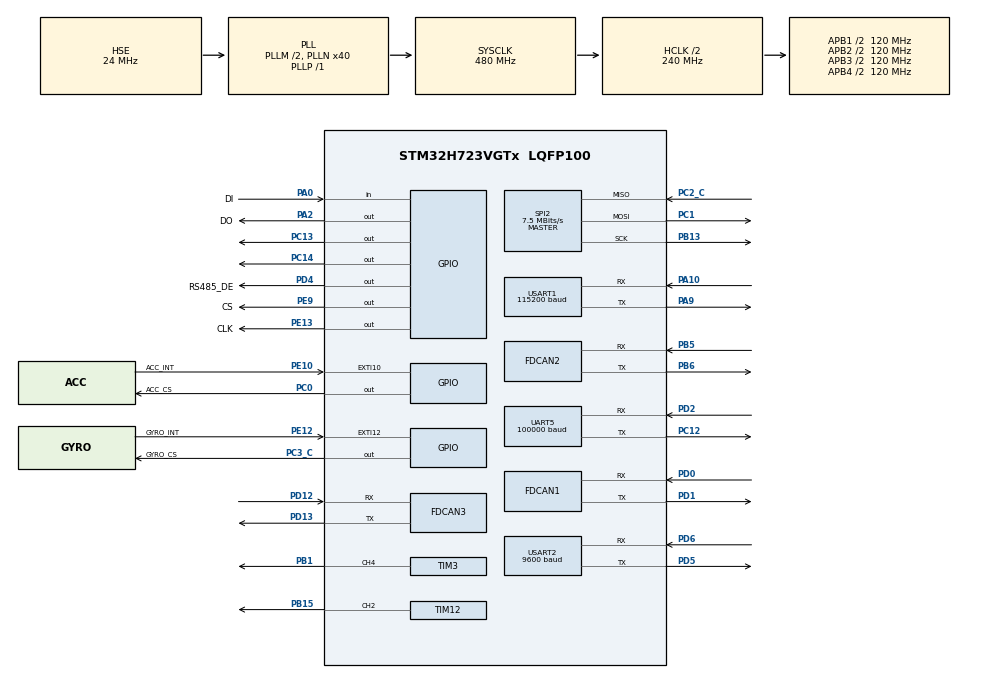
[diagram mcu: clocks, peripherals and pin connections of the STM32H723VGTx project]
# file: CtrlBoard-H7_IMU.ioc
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Dma.Request0=SPI2_RX
Dma.Request1=SPI2_TX
Dma.Request2=USART1_RX
Dma.Request3=USART1_TX
Dma.Request4=UART5_RX
Dma.SPI2_RX.0.Direction=DMA_PERIPH_TO_MEMORY
Dma.SPI2_RX.0.EventEnable=DISABLE
Dma.SPI2_RX.0.FIFOMode=DMA_FIFOMODE_DISABLE
Dma.SPI2_RX.0.Instance=DMA1_Stream0
Dma.SPI2_RX.0.MemDataAlignment=DMA_MDATAALIGN_BYTE
Dma.SPI2_RX.0.MemInc=DMA_MINC_ENABLE
Dma.SPI2_RX.0.Mode=DMA_NORMAL
Dma.SPI2_RX.0.PeriphDataAlignment=DMA_PDATAALIGN_BYTE
Dma.SPI2_RX.0.PeriphInc=DMA_PINC_DISABLE
Dma.SPI2_RX.0.Polarity=HAL_DMAMUX_REQ_GEN_RISING
Dma.SPI2_RX.0.Priority=DMA_PRIORITY_VERY_HIGH
Dma.SPI2_RX.0.RequestNumber=1
Dma.SPI2_RX.0.SignalID=NONE
Dma.SPI2_RX.0.SyncEnable=DISABLE
Dma.SPI2_RX.0.SyncPolarity=HAL_DMAMUX_SYNC_NO_EVENT
Dma.SPI2_RX.0.SyncRequestNumber=1
Dma.SPI2_RX.0.SyncSignalID=NONE
Dma.SPI2_TX.1.Direction=DMA_MEMORY_TO_PERIPH
Dma.SPI2_TX.1.EventEnable=DISABLE
Dma.SPI2_TX.1.FIFOMode=DMA_FIFOMODE_DISABLE
Dma.SPI2_TX.1.Instance=DMA1_Stream4
Dma.SPI2_TX.1.MemDataAlignment=DMA_MDATAALIGN_BYTE
Dma.SPI2_TX.1.MemInc=DMA_MINC_ENABLE
Dma.SPI2_TX.1.Mode=DMA_NORMAL
Dma.SPI2_TX.1.PeriphDataAlignment=DMA_PDATAALIGN_BYTE
Dma.SPI2_TX.1.PeriphInc=DMA_PINC_DISABLE
Dma.SPI2_TX.1.Polarity=HAL_DMAMUX_REQ_GEN_RISING
Dma.SPI2_TX.1.Priority=DMA_PRIORITY_HIGH
Dma.SPI2_TX.1.RequestNumber=1
Dma.SPI2_TX.1.SignalID=NONE
Dma.SPI2_TX.1.SyncEnable=DISABLE
Dma.SPI2_TX.1.SyncPolarity=HAL_DMAMUX_SYNC_NO_EVENT
Dma.SPI2_TX.1.SyncRequestNumber=1
Dma.SPI2_TX.1.SyncSignalID=NONE
Dma.UART5_RX.4.Direction=DMA_PERIPH_TO_MEMORY
Dma.UART5_RX.4.EventEnable=DISABLE
Dma.UART5_RX.4.FIFOMode=DMA_FIFOMODE_DISABLE
Dma.UART5_RX.4.Instance=DMA1_Stream1
Dma.UART5_RX.4.MemDataAlignment=DMA_MDATAALIGN_BYTE
Dma.UART5_RX.4.MemInc=DMA_MINC_ENABLE
Dma.UART5_RX.4.Mode=DMA_NORMAL
Dma.UART5_RX.4.PeriphDataAlignment=DMA_PDATAALIGN_BYTE
Dma.UART5_RX.4.PeriphInc=DMA_PINC_DISABLE
Dma.UART5_RX.4.Polarity=HAL_DMAMUX_REQ_GEN_RISING
Dma.UART5_RX.4.Priority=DMA_PRIORITY_LOW
Dma.UART5_RX.4.RequestNumber=1
Dma.UART5_RX.4.SignalID=NONE
Dma.UART5_RX.4.SyncEnable=DISABLE
Dma.UART5_RX.4.SyncPolarity=HAL_DMAMUX_SYNC_NO_EVENT
Dma.UART5_RX.4.SyncRequestNumber=1
Dma.UART5_RX.4.SyncSignalID=NONE
Dma.USART1_RX.2.Direction=DMA_PERIPH_TO_MEMORY
Dma.USART1_RX.2.EventEnable=DISABLE
Dma.USART1_RX.2.FIFOMode=DMA_FIFOMODE_DISABLE
Dma.USART1_RX.2.Instance=DMA1_Stream2
Dma.USART1_RX.2.MemDataAlignment=DMA_MDATAALIGN_BYTE
Dma.USART1_RX.2.MemInc=DMA_MINC_ENABLE
Dma.USART1_RX.2.Mode=DMA_NORMAL
Dma.USART1_RX.2.PeriphDataAlignment=DMA_PDATAALIGN_BYTE
Dma.USART1_RX.2.PeriphInc=DMA_PINC_DISABLE
Dma.USART1_RX.2.Polarity=HAL_DMAMUX_REQ_GEN_RISING
Dma.USART1_RX.2.Priority=DMA_PRIORITY_LOW
Dma.USART1_RX.2.RequestNumber=1
Dma.USART1_RX.2.SignalID=NONE
Dma.USART1_RX.2.SyncEnable=DISABLE
Dma.USART1_RX.2.SyncPolarity=HAL_DMAMUX_SYNC_NO_EVENT
Dma.USART1_RX.2.SyncRequestNumber=1
Dma.USART1_RX.2.SyncSignalID=NONE
Dma.USART1_TX.3.Direction=DMA_MEMORY_TO_PERIPH
Dma.USART1_TX.3.EventEnable=DISABLE
Dma.USART1_TX.3.FIFOMode=DMA_FIFOMODE_DISABLE
Dma.USART1_TX.3.Instance=DMA1_Stream3
Dma.USART1_TX.3.MemDataAlignment=DMA_MDATAALIGN_BYTE
Dma.USART1_TX.3.MemInc=DMA_MINC_ENABLE
Dma.USART1_TX.3.Mode=DMA_NORMAL
Dma.USART1_TX.3.PeriphDataAlignment=DMA_PDATAALIGN_BYTE
Dma.USART1_TX.3.PeriphInc=DMA_PINC_DISABLE
Dma.USART1_TX.3.Polarity=HAL_DMAMUX_REQ_GEN_RISING
Dma.USART1_TX.3.Priority=DMA_PRIORITY_LOW
Dma.USART1_TX.3.RequestNumber=1
Dma.USART1_TX.3.SignalID=NONE
Dma.USART1_TX.3.SyncEnable=DISABLE
Dma.USART1_TX.3.SyncPolarity=HAL_DMAMUX_SYNC_NO_EVENT
Dma.USART1_TX.3.SyncRequestNumber=1
Dma.USART1_TX.3.SyncSignalID=NONE
FDCAN1.CalculateBaudRateNominal=1000000
FDCAN1.CalculateTimeBitNominal=1000
FDCAN1.CalculateTimeQuantumNominal=40.0
FDCAN1.DataPrescaler=4
FDCAN1.DataTimeSeg1=19
FDCAN1.DataTimeSeg2=5
FDCAN1.ExtFiltersNbr=5
FDCAN1.NominalPrescaler=4
FDCAN1.NominalTimeSeg1=19
FDCAN1.NominalTimeSeg2=5
FDCAN1.RxFifo0ElmtSize=FDCAN_DATA_BYTES_24
FDCAN1.RxFifo0ElmtsNbr=4
FDCAN1.RxFifo1ElmtSize=FDCAN_DATA_BYTES_24
FDCAN1.StdFiltersNbr=5
FDCAN1.TxElmtSize=FDCAN_DATA_BYTES_24
FDCAN1.TxFifoQueueElmtsNbr=8
FDCAN2.CalculateBaudRateNominal=1000000
FDCAN2.CalculateTimeBitNominal=1000
FDCAN2.CalculateTimeQuantumNominal=50.0
FDCAN2.DataPrescaler=5
FDCAN2.DataTimeSeg1=14
FDCAN2.DataTimeSeg2=5
FDCAN2.ExtFiltersNbr=5
FDCAN2.MessageRAMOffset=854
FDCAN2.NominalPrescaler=5
FDCAN2.NominalTimeSeg1=14
FDCAN2.NominalTimeSeg2=5
FDCAN2.RxFifo1ElmtSize=FDCAN_DATA_BYTES_24
FDCAN2.RxFifo1ElmtsNbr=4
FDCAN2.StdFiltersNbr=5
FDCAN2.TxElmtSize=FDCAN_DATA_BYTES_16
FDCAN2.TxFifoQueueElmtsNbr=4
FDCAN3.CalculateBaudRateNominal=1000000
FDCAN3.CalculateTimeBitNominal=1000
FDCAN3.CalculateTimeQuantumNominal=50.0
FDCAN3.DataPrescaler=5
FDCAN3.DataTimeSeg1=14
FDCAN3.DataTimeSeg2=5
FDCAN3.ExtFiltersNbr=5
FDCAN3.MessageRAMOffset=1709
FDCAN3.NominalPrescaler=5
FDCAN3.NominalTimeSeg1=14
FDCAN3.NominalTimeSeg2=5
FDCAN3.RxFifo0ElmtsNbr=2
FDCAN3.StdFiltersNbr=5
FDCAN3.TxFifoQueueElmtsNbr=3
FREERTOS.MEMORY_ALLOCATION=0
FREERTOS.Tasks01=defaultTask,0,128,StartDefaultTask,Default,NULL,Dynamic,NULL,NULL;INS_TASK,3,512,INS_Task,Default,NULL,Dynamic,NULL,NULL;CHASSISR_TASK,1,512,ChassisR_Task,Default,NULL,Dynamic,NULL,NULL
FREERTOS.configENABLE_FPU=1
FREERTOS.configTOTAL_HEAP_SIZE=30720
Mcu.Family=STM32H7
Mcu.Name=STM32H723VGTx
Mcu.Package=LQFP100
NVIC.DMA1_Stream0_IRQn=true\:6\:0\:true\:false\:true\:true\:false\:true\:true
NVIC.DMA1_Stream1_IRQn=true\:6\:0\:true\:false\:true\:true\:false\:true\:true
NVIC.DMA1_Stream2_IRQn=true\:5\:0\:false\:false\:true\:true\:false\:true\:true
NVIC.DMA1_Stream3_IRQn=true\:5\:0\:false\:false\:true\:true\:false\:true\:true
NVIC.DMA1_Stream4_IRQn=true\:5\:0\:false\:false\:true\:true\:false\:true\:true
NVIC.FDCAN1_IT0_IRQn=true\:6\:0\:true\:false\:true\:true\:true\:true\:true
NVIC.FDCAN2_IT0_IRQn=true\:5\:0\:true\:false\:true\:true\:true\:true\:true
NVIC.FDCAN3_IT0_IRQn=true\:5\:0\:false\:false\:true\:true\:true\:true\:true
NVIC.PriorityGroup=NVIC_PRIORITYGROUP_4
NVIC.SPI2_IRQn=true\:5\:0\:true\:false\:true\:true\:false\:true\:true
NVIC.TIM2_IRQn=true\:15\:0\:false\:false\:true\:false\:false\:true\:true
NVIC.TimeBase=TIM2_IRQn
NVIC.TimeBaseIP=TIM2
NVIC.UART5_IRQn=true\:5\:0\:false\:false\:true\:true\:true\:true\:true
NVIC.USART1_IRQn=true\:5\:0\:false\:false\:true\:true\:true\:true\:true
NVIC.USART2_IRQn=true\:5\:0\:false\:false\:true\:true\:true\:true\:true
PA0.GPIO_Label=DI
PA0.GPIO_PuPd=GPIO_PULLUP
PA0.Signal=GPIO_Input
PA10.Mode=Asynchronous
PA10.Signal=USART1_RX
PA13(JTMS/SWDIO).Mode=Serial_Wire
PA13(JTMS/SWDIO).Signal=DEBUG_JTMS-SWDIO
PA14(JTCK/SWCLK).Mode=Serial_Wire
PA14(JTCK/SWCLK).Signal=DEBUG_JTCK-SWCLK
PA2.GPIO_Label=DO
PA2.GPIO_PuPd=GPIO_PULLUP
PA2.GPIO_Speed=GPIO_SPEED_FREQ_VERY_HIGH
PA2.PinState=GPIO_PIN_SET
PA2.Signal=GPIO_Output
PA9.Mode=Asynchronous
PA9.Signal=USART1_TX
PB1.Signal=S_TIM3_CH4
PB13.GPIO_Speed=GPIO_SPEED_FREQ_VERY_HIGH
PB13.Mode=Full_Duplex_Master
PB13.Signal=SPI2_SCK
PB15.Signal=S_TIM12_CH2
PB5.Mode=FDCAN_Activate
PB5.Signal=FDCAN2_RX
PB6.Mode=FDCAN_Activate
PB6.Signal=FDCAN2_TX
PC0.GPIO_Label=ACC_CS
PC0.GPIO_Speed=GPIO_SPEED_FREQ_VERY_HIGH
PC0.PinState=GPIO_PIN_SET
PC0.Signal=GPIO_Output
PC1.GPIO_Speed=GPIO_SPEED_FREQ_VERY_HIGH
PC1.Mode=Full_Duplex_Master
PC1.Signal=SPI2_MOSI
PC12.Mode=Asynchronous
PC12.Signal=UART5_TX
PC13.Signal=GPIO_Output
PC14-OSC32_IN.Signal=GPIO_Output
PC2_C.GPIO_Speed=GPIO_SPEED_FREQ_VERY_HIGH
PC2_C.Mode=Full_Duplex_Master
PC2_C.Signal=SPI2_MISO
PC3_C.GPIO_Label=GYRO_CS
PC3_C.GPIO_Speed=GPIO_SPEED_FREQ_VERY_HIGH
PC3_C.PinState=GPIO_PIN_SET
PC3_C.Signal=GPIO_Output
PD0.Mode=FDCAN_Activate
PD0.Signal=FDCAN1_RX
PD1.Mode=FDCAN_Activate
PD1.Signal=FDCAN1_TX
PD12.Mode=FDCAN_Activate
PD12.Signal=FDCAN3_RX
PD13.Mode=FDCAN_Activate
PD13.Signal=FDCAN3_TX
PD2.Mode=Asynchronous
PD2.Signal=UART5_RX
PD4.GPIO_Label=RS485_DE
PD4.GPIO_PuPd=GPIO_NOPULL
PD4.GPIO_Speed=GPIO_SPEED_FREQ_LOW
PD4.Signal=GPIO_Output
PD5.Mode=Asynchronous
PD5.Signal=USART2_TX
PD6.Mode=Asynchronous
PD6.Signal=USART2_RX
PE10.GPIO_Label=ACC_INT
PE10.Signal=GPXTI10
PE12.GPIO_Label=GYRO_INT
PE12.Signal=GPXTI12
PE13.GPIO_Label=CLK
PE13.GPIO_PuPd=GPIO_PULLUP
PE13.GPIO_Speed=GPIO_SPEED_FREQ_VERY_HIGH
PE13.PinState=GPIO_PIN_SET
PE13.Signal=GPIO_Output
PE9.GPIO_Label=CS
PE9.GPIO_PuPd=GPIO_PULLUP
PE9.GPIO_Speed=GPIO_SPEED_FREQ_VERY_HIGH
PE9.PinState=GPIO_PIN_SET
PE9.Signal=GPIO_Output
PH0-OSC_IN.Mode=HSE-External-Oscillator
PH0-OSC_IN.Signal=RCC_OSC_IN
PH1-OSC_OUT.Mode=HSE-External-Oscillator
PH1-OSC_OUT.Signal=RCC_OSC_OUT
ProjectManager.HeapSize=0x200
ProjectManager.StackSize=0x800
ProjectManager.TargetToolchain=CMake
RCC.ADCFreq_Value=100000000
RCC.APB1Freq_Value=120000000
RCC.APB2Freq_Value=120000000
RCC.APB3Freq_Value=120000000
RCC.APB4Freq_Value=120000000
RCC.CortexFreq_Value=480000000
RCC.D1PPRE=RCC_APB3_DIV2
RCC.D2PPRE1=RCC_APB1_DIV2
RCC.D2PPRE2=RCC_APB2_DIV2
RCC.D3PPRE=RCC_APB4_DIV2
RCC.DIVM1=2
RCC.DIVM2=24
RCC.DIVN1=40
RCC.DIVN2=200
RCC.DIVP1=1
RCC.FDCANCLockSelection=RCC_FDCANCLKSOURCE_PLL2
RCC.HCLKFreq_Value=240000000
RCC.HPRE=RCC_HCLK_DIV2
RCC.HSE_VALUE=24000000
RCC.PLL2FRACN=0
RCC.PLL3FRACN=0
RCC.PLLFRACN=0
RCC.PLLSourceVirtual=RCC_PLLSOURCE_HSE
RCC.SYSCLKFreq_VALUE=480000000
RCC.SYSCLKSource=RCC_SYSCLKSOURCE_PLLCLK
RCC.USBFreq_Value=240000000
SH.S_TIM12_CH2.0=TIM12_CH2,PWM Generation2 CH2
SH.S_TIM3_CH4.0=TIM3_CH4,PWM Generation4 CH4
SPI2.BaudRatePrescaler=SPI_BAUDRATEPRESCALER_32
SPI2.CLKPhase=SPI_PHASE_2EDGE
SPI2.CLKPolarity=SPI_POLARITY_HIGH
SPI2.CalculateBaudRate=7.5 MBits/s
SPI2.DataSize=SPI_DATASIZE_8BIT
SPI2.Direction=SPI_DIRECTION_2LINES
SPI2.Mode=SPI_MODE_MASTER
SPI2.VirtualType=VM_MASTER
TIM12.Channel-PWM\ Generation2\ CH2=TIM_CHANNEL_2
TIM12.Period=2000-1
TIM12.Prescaler=24-1
TIM12.Pulse-PWM\ Generation2\ CH2=1000
TIM3.AutoReloadPreload=TIM_AUTORELOAD_PRELOAD_ENABLE
TIM3.Channel-PWM\ Generation4\ CH4=TIM_CHANNEL_4
TIM3.Period=10000-1
TIM3.Prescaler=24-1
UART5.BaudRate=100000
UART5.Parity=PARITY_EVEN
UART5.StopBits=UART_STOPBITS_2
UART5.WordLength=WORDLENGTH_9B
USART2.BaudRate=9600
USART2.VirtualMode-Asynchronous=VM_ASYNC
USART1.BaudRate=115200
USART1.VirtualMode-Asynchronous=VM_ASYNC
VP_FREERTOS_VS_CMSIS_V1.Mode=CMSIS_V1
VP_MEMORYMAP_VS_MEMORYMAP.Mode=CurAppReg
VP_SYS_VS_tim2.Mode=TIM2
board=custom

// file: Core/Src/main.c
/* USER CODE BEGIN Header */
/**
  ******************************************************************************
  * @file           : main.c
  * @brief          : 六轮差速车主程序入口
  ******************************************************************************
  * @attention
  *
  * Copyright (c) 2024 STMicroelectronics.
  * All rights reserved.
  *
  * This software is licensed under terms that can be found in the LICENSE file
  * in the root directory of this software component.
  * If no LICENSE file comes with this software, it is provided AS-IS.
  *
  ******************************************************************************
  */
/* USER CODE END Header */
/* 头文件 ------------------------------------------------------------------*/
#include "main.h"
#include "cmsis_os.h"
#include "dma.h"
#include "fdcan.h"
#include "spi.h"
#include "tim.h"
#include "usart.h"
#include "gpio.h"

/* 用户头文件 --------------------------------------------------------------*/
/* USER CODE BEGIN Includes */
#include "BMI088driver.h"
#include "kalman_filter.h"
#include "mahony_filter.h"
#include "bsp_dwt.h"
#include "BMI088Middleware.h"
#include "can_bsp.h"
#include "rc_sbus.h"
#include "Chaiss_Communication.h"
/* USER CODE END Includes */

/* 用户类型定义 ------------------------------------------------------------*/

/* 用户宏定义 --------------------------------------------------------------*/

/* 用户宏 ------------------------------------------------------------------*/

/* 用户变量 ----------------------------------------------------------------*/

/* 函数声明 ------------------------------------------------------------*/
void SystemClock_Config(void);
void PeriphCommonClock_Config(void);
void MX_FREERTOS_Init(void);

/* 用户私有代码 -------------------------------------------------------------*/

/**
  * @brief  应用程序入口
  * @retval 程序返回值；嵌入式程序正常运行时不会返回
  */
int main(void)
{

  /* 微控制器配置 -------------------------------------------------------------*/

  /* 复位所有外设，初始化 Flash 接口和 HAL 系统时基。 */
  HAL_Init();

  /* USER CODE BEGIN Init */
//06 01 00 00 00 00 00 00 00 00 00 00 00 00 80 3F
  /* USER CODE END Init */

  /* 配置系统主时钟。 */
  SystemClock_Config();

  /* 配置 FDCAN 等外设使用的公共时钟。 */
  PeriphCommonClock_Config();

  /* 初始化 CubeMX 配置的全部外设。 */
  MX_GPIO_Init();
  MX_DMA_Init();
  MX_SPI2_Init();
  MX_FDCAN1_Init();
  MX_FDCAN2_Init();
  MX_TIM3_Init();
  MX_FDCAN3_Init();
  MX_USART1_UART_Init();
  MX_USART2_UART_Init();
  MX_UART5_Init();
  MX_TIM12_Init();
  /* USER CODE BEGIN 2 */
  	DWT_Init(480);

  /* 初始化 BMI088；初始化失败时持续重试，防止在 IMU 不可用时启动底盘。 */
  while (BMI088_init(&hspi2, 0) != BMI088_NO_ERROR)
	{
	  ;
	}

	/* IMU 初始化完成后开启两路外设电源输出。 */
	Power_OUT1_ON;
	Power_OUT2_ON;

  /* 配置并启动左右两侧电机使用的两路 FDCAN。 */
  FDCAN1_Config();
	FDCAN2_Config();

  /* UART5 receives SBUS; USART1 (PA9/PA10, 115200 8N1) receives VX/VY/VZ. */
  rc_sbus_init();
  Chaiss_Communication_Init();  /* USER CODE END 2 */

  /* 调用 FreeRTOS 对象初始化函数。 */
  MX_FREERTOS_Init();

  /* 启动 FreeRTOS 调度器；成功后程序由各任务接管。 */
  osKernelStart();

  /* 正常情况下不会执行到下面的 while 循环。 */
  while (1)
  {

  }
}

/**
  * @brief 配置系统时钟
  * @retval 无
  */
void SystemClock_Config(void)
{
  RCC_OscInitTypeDef RCC_OscInitStruct = {0};
  RCC_ClkInitTypeDef RCC_ClkInitStruct = {0};

  /** 允许更新电源配置
  */
  HAL_PWREx_ConfigSupply(PWR_LDO_SUPPLY);

  /** 配置主内部稳压器输出电压
  */
  __HAL_PWR_VOLTAGESCALING_CONFIG(PWR_REGULATOR_VOLTAGE_SCALE0);

  while(!__HAL_PWR_GET_FLAG(PWR_FLAG_VOSRDY)) {}

  /** 根据指定参数初始化 RCC 振荡器
  * 参数保存在 RCC_OscInitTypeDef 结构体中。
  */
  RCC_OscInitStruct.OscillatorType = RCC_OSCILLATORTYPE_HSE;
  RCC_OscInitStruct.HSEState = RCC_HSE_ON;
  RCC_OscInitStruct.PLL.PLLState = RCC_PLL_ON;
  RCC_OscInitStruct.PLL.PLLSource = RCC_PLLSOURCE_HSE;
  RCC_OscInitStruct.PLL.PLLM = 2;
  RCC_OscInitStruct.PLL.PLLN = 40;
  RCC_OscInitStruct.PLL.PLLP = 1;
  RCC_OscInitStruct.PLL.PLLQ = 2;
  RCC_OscInitStruct.PLL.PLLR = 2;
  RCC_OscInitStruct.PLL.PLLRGE = RCC_PLL1VCIRANGE_3;
  RCC_OscInitStruct.PLL.PLLVCOSEL = RCC_PLL1VCOWIDE;
  RCC_OscInitStruct.PLL.PLLFRACN = 0;
  if (HAL_RCC_OscConfig(&RCC_OscInitStruct) != HAL_OK)
  {
    Error_Handler();
  }

  /** 初始化 CPU、AHB 和 APB 总线时钟
  */
  RCC_ClkInitStruct.ClockType = RCC_CLOCKTYPE_HCLK|RCC_CLOCKTYPE_SYSCLK
                              |RCC_CLOCKTYPE_PCLK1|RCC_CLOCKTYPE_PCLK2
                              |RCC_CLOCKTYPE_D3PCLK1|RCC_CLOCKTYPE_D1PCLK1;
  RCC_ClkInitStruct.SYSCLKSource = RCC_SYSCLKSOURCE_PLLCLK;
  RCC_ClkInitStruct.SYSCLKDivider = RCC_SYSCLK_DIV1;
  RCC_ClkInitStruct.AHBCLKDivider = RCC_HCLK_DIV2;
  RCC_ClkInitStruct.APB3CLKDivider = RCC_APB3_DIV2;
  RCC_ClkInitStruct.APB1CLKDivider = RCC_APB1_DIV2;
  RCC_ClkInitStruct.APB2CLKDivider = RCC_APB2_DIV2;
  RCC_ClkInitStruct.APB4CLKDivider = RCC_APB4_DIV2;

  if (HAL_RCC_ClockConfig(&RCC_ClkInitStruct, FLASH_LATENCY_3) != HAL_OK)
  {
    Error_Handler();
  }
}

/**
  * @brief 配置外设公共时钟
  * @retval 无
  */
void PeriphCommonClock_Config(void)
{
  RCC_PeriphCLKInitTypeDef PeriphClkInitStruct = {0};

  /** 初始化外设时钟
  */
  PeriphClkInitStruct.PeriphClockSelection = RCC_PERIPHCLK_FDCAN;
  PeriphClkInitStruct.PLL2.PLL2M = 24;
  PeriphClkInitStruct.PLL2.PLL2N = 200;
  PeriphClkInitStruct.PLL2.PLL2P = 2;
  PeriphClkInitStruct.PLL2.PLL2Q = 2;
  PeriphClkInitStruct.PLL2.PLL2R = 2;
  PeriphClkInitStruct.PLL2.PLL2RGE = RCC_PLL2VCIRANGE_0;
  PeriphClkInitStruct.PLL2.PLL2VCOSEL = RCC_PLL2VCOMEDIUM;
  PeriphClkInitStruct.PLL2.PLL2FRACN = 0;
  PeriphClkInitStruct.FdcanClockSelection = RCC_FDCANCLKSOURCE_PLL2;
  if (HAL_RCCEx_PeriphCLKConfig(&PeriphClkInitStruct) != HAL_OK)
  {
    Error_Handler();
  }
}

/**
  * @brief  定时器周期到达回调函数
  * @note   TIM2 产生中断后由 HAL_TIM_IRQHandler() 调用本函数，
  *         再调用 HAL_IncTick() 更新系统时基变量 uwTick。
  * @param  htim 定时器句柄
  * @retval 无
  */
void HAL_TIM_PeriodElapsedCallback(TIM_HandleTypeDef *htim)
{
  if (htim->Instance == TIM2)
  {
    HAL_IncTick();
  }
}

/**
  * @brief  HAL 初始化或配置失败时进入的错误处理函数
  * @retval 无
  */
void Error_Handler(void)
{
  /* USER CODE BEGIN Error_Handler_Debug */
  /* 用户可在此添加 HAL 错误状态上报代码。 */
  __disable_irq();
  while (1)
  {
  }
  /* USER CODE END Error_Handler_Debug */
}
#ifdef USE_FULL_ASSERT
/**
  * @brief  报告 assert_param 断言失败所在的源文件和行号
  * @param  file 源文件名指针
  * @param  line 发生错误的源代码行号
  * @retval 无
  */
void assert_failed(uint8_t *file, uint32_t line)
{
  /* USER CODE BEGIN 6 */
  /* 可在此输出文件名和行号，例如通过串口打印断言失败位置。 */
  /* USER CODE END 6 */
}
#endif /* USE_FULL_ASSERT */

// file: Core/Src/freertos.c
/* USER CODE BEGIN Header */
/**
  ******************************************************************************
  * File Name          : freertos.c
  * Description        : Code for freertos applications
  ******************************************************************************
  * @attention
  *
  * Copyright (c) 2024 STMicroelectronics.
  * All rights reserved.
  *
  * This software is licensed under terms that can be found in the LICENSE file
  * in the root directory of this software component.
  * If no LICENSE file comes with this software, it is provided AS-IS.
  *
  ******************************************************************************
  */
/* USER CODE END Header */

/* 说明 ------------------------------------------------------------------*/
#include "FreeRTOS.h"
#include "task.h"
#include "main.h"
#include "cmsis_os.h"

/* 说明 --------------------------------------------------------------*/
/* USER CODE BEGIN Includes */
#include "tim.h"
#include "fdcan.h"
#include "usart.h"
#include "INS_task.h"
#include "chassis_task.h"
#include "rail_task.h"
#include "kinematics.h"
#include "vehicle_config.h"
#include "hm_motor.h"
#include "rc_sbus.h"
#include "chassis_command.h"
#include "Chaiss_Communication.h"
#include <math.h>

#ifndef M_PI_2
#define M_PI_2 1.57079632679489661923
#endif
/* USER CODE END Includes */

/* 说明 ------------------------------------------------------------*/

/* 说明 --------------------------------------------------------------*/

/* 说明 ------------------------------------------------------------------*/

/* 说明 ----------------------------------------------------------------*/
osThreadId defaultTaskHandle;
osThreadId INS_TASKHandle;
osThreadId CHASSISR_TASKHandle;
osThreadId RAIL_CONTROL_TASKHandle;

/* 说明 ------------------------------------------------------------*/
/* USER CODE BEGIN FunctionPrototypes */
/* 一阶低通滤波：alpha 取 0~1，值越大响应越快，滤波效果越弱。 */
static inline float lpf_first_order(float prev, float input, float alpha)
{
  if (alpha < 0.0f) alpha = 0.0f;
  else if (alpha > 1.0f) alpha = 1.0f;
  return prev + alpha * (input - prev);
}

/* 串口模式切换提示：两声短鸣，仅由模式切换事件调用。 */
static void buzzer_beep_twice(void)
{
  Buzzer_Set(1u);
  osDelay(100);
  Buzzer_Set(0u);
  osDelay(100);
  Buzzer_Set(1u);
  osDelay(100);
  Buzzer_Set(0u);
}

/* USER CODE END FunctionPrototypes */

void StartDefaultTask(void const * argument);
void INS_Task(void const * argument);
void ChassisR_Task(void const * argument);
void RailControl_Task(void const * argument);

void MX_FREERTOS_Init(void); /* (MISRA C 2004 rule 8.1) */

/**
  * @brief  说明 FreeRTOS
  * @param  ?
  * @retval ?
  */
void MX_FREERTOS_Init(void) {

  /* USER CODE BEGIN RTOS_MUTEX */
  /* 说明 */
  /* USER CODE END RTOS_MUTEX */

  /* USER CODE BEGIN RTOS_SEMAPHORES */
  /* 说明 */
  /* USER CODE END RTOS_SEMAPHORES */

  /* USER CODE BEGIN RTOS_TIMERS */
  /* 说明 */
  /* USER CODE END RTOS_TIMERS */

  /* USER CODE BEGIN RTOS_QUEUES */
  /* 说明 */
  /* USER CODE END RTOS_QUEUES */

  /* 说明 */
  /* 说明 */
  osThreadDef(defaultTask, StartDefaultTask, osPriorityNormal, 0, 128);
  defaultTaskHandle = osThreadCreate(osThread(defaultTask), NULL);

  /* 说明 */
  osThreadDef(INS_TASK, INS_Task, osPriorityRealtime, 0, 512);
  INS_TASKHandle = osThreadCreate(osThread(INS_TASK), NULL);

  /* 说明 */
  osThreadDef(CHASSISR_TASK, ChassisR_Task, osPriorityAboveNormal, 0, 512);
  CHASSISR_TASKHandle = osThreadCreate(osThread(CHASSISR_TASK), NULL);

  /* 推杆通过 USART2/RS485 独立低优先级轮询，避免阻塞底盘控制。 */
  osThreadDef(RAIL_CONTROL_TASK, RailControl_Task, osPriorityLow, 0, 384);
  RAIL_CONTROL_TASKHandle = osThreadCreate(osThread(RAIL_CONTROL_TASK), NULL);

  /* USER CODE BEGIN RTOS_THREADS */
  /* 说明 */
  /* USER CODE END RTOS_THREADS */

}

/* USER CODE BEGIN Header_StartDefaultTask */
/**
  * @brief  说明
  * @param  argument说明
  * @retval ?
  */
/* USER CODE END Header_StartDefaultTask */
void StartDefaultTask(void const * argument)
{
  /* USER CODE BEGIN StartDefaultTask */
  /*
   * 遥控任务只生成“目标值”，不直接发送电机命令：
   * CH8 三段拨杆选择控制源：下拨失能，中置仅串口，上拨仅 SBUS。
   * SBUS 遥控器模拟 Twist 指令：
   *   CH3 -> linear_x (m/s)
   *   CH1 -> angular_z (rad/s)
   * 底盘任务只读取统一 chassis_command，不关心指令来源。
   */
  static rc_control_mode_e active_control_mode = RC_CONTROL_DISABLED;
  static float yaw_rate_cmd_filt = 0.0f;
  static float v_cmd_filt = 0.0f;
#if ENABLE_CHASSIS_AUTO_TEST
  static uint32_t test_start_ms = 0u;
#endif
  const float yaw_lpf_alpha = 0.2f;
  const float v_lpf_alpha   = 0.2f;

  /* 说明 */
  for(;;)
  {
#if ENABLE_CHASSIS_AUTO_TEST
    /*
     * One-shot bench test. This block is compiled only when explicitly
     * enabled in vehicle_config.h. Lift all wheels before enabling it.
     */
    {
      uint32_t elapsed;
      float test_v = 0.0f;
      float test_w = 0.0f;
      uint8_t test_enable = 0u;

      chassis_command_set_safety_enabled(1u);

      if (test_start_ms == 0u)
      {
        test_start_ms = HAL_GetTick();
      }
      elapsed = HAL_GetTick() - test_start_ms;

      if ((elapsed >= 2000u) && (elapsed < 5000u))
      {
        test_v = 0.10f;       /* straight */
        test_enable = 1u;
      }
      else if ((elapsed >= 5000u) && (elapsed < 8000u))
      {
        test_w = 0.20f;       /* rotate CCW */
        test_enable = 1u;
      }
      else if ((elapsed >= 8000u) && (elapsed < 11000u))
      {
        test_v = 0.10f;       /* arc */
        test_w = 0.20f;
        test_enable = 1u;
      }

      chassis_command_publish(test_v, test_w,
                              test_enable, CHASSIS_CMD_TEST);
      osDelay(10);
      continue;
    }
#endif

    rc_sbus_update();

    {
      rc_control_mode_e requested_mode = active_control_mode;

      if (rc_sbus.online)
      {
        /* 仅在收到有效 SBUS 数据时采样 CH8；遥控器掉线不清除已选模式。 */
        requested_mode = rc_control_mode_from_pwm(
            rc_sbus.ch_pwm[g_sbus_ch_map.control_mode]);
      }

      if (requested_mode != active_control_mode)
      {
        /* 切换控制源时先清掉旧指令，避免旧命令跨模式残留。 */
        chassis_command_stop(CHASSIS_CMD_RC);
        active_control_mode = requested_mode;
        yaw_rate_cmd_filt = 0.0f;
        v_cmd_filt = 0.0f;

        if (active_control_mode == RC_CONTROL_SERIAL)
        {
          buzzer_beep_twice();
        }
      }

      if (active_control_mode == RC_CONTROL_DISABLED)
      {
        /* CH8 下拨或 SBUS 掉线：两路输入均禁止，底盘立即停止。 */
        Chaiss_Communication_SetCommandEnabled(0u);
        chassis_command_set_safety_enabled(0u);
        chassis_command_stop(CHASSIS_CMD_RC);
        osDelay(10);
        continue;
      }

      chassis_command_set_safety_enabled(1u);

      if (active_control_mode == RC_CONTROL_SERIAL)
      {
        /* 串口档保持锁存；即使遥控器掉线，也持续接收并接受 USART1 指令。 */
        Chaiss_Communication_SetCommandEnabled(1u);
        (void)Chaiss_Communication_IsOnline();
        osDelay(10);
        continue;
      }

      /* 遥控档关闭 USART1 指令入口，只发布 SBUS 遥控指令。 */
      Chaiss_Communication_SetCommandEnabled(0u);

      if (rc_sbus.online == 0u)
      {
        /* 保持遥控档选择，但遥控器掉线时立即停车并关闭安全门。 */
        chassis_command_set_safety_enabled(0u);
        chassis_command_stop(CHASSIS_CMD_RC);
        osDelay(10);
        continue;
      }

      chassis_command_set_safety_enabled(1u);

      /* CH1 -> angular_z；不再积分为目标航向角。 */
      {
        /*
         * 正值约定为逆时针。IMU 反馈闭环在 Chassis_task 中完成。
         */
        float yaw_rate_raw = rc_sbus_channel_norm(g_sbus_ch_map.steer)
                           * YAW_RATE_MAX_RADPS * RC_STEER_SIGN;
        yaw_rate_cmd_filt = lpf_first_order(yaw_rate_cmd_filt, yaw_rate_raw, yaw_lpf_alpha);
      }

      /* CH3 -> 车体系线速度指令。 */
      {
        /* 油门归一化范围约为 [-1,+1]，再换算为车辆线速度 m/s。 */
        float v_set_raw = rc_sbus_channel_norm(g_sbus_ch_map.throttle) * V_CMD_MAX_MS;
        v_cmd_filt = lpf_first_order(v_cmd_filt, v_set_raw, v_lpf_alpha);
        chassis_move.v_set = v_cmd_filt;
      }

      if (rc_sbus.ch_pwm[g_sbus_ch_map.heading_lock] <
          SBUS_HEADING_LOCK_THRESHOLD)
      {
        /* SWC up: capture and hold the current yaw angle. */
        chassis_command_publish_heading_lock(CHASSIS_CMD_RC);
      }
      else
      {
        /* SWC down: leave heading lock and restore normal RC velocity mode. */
        chassis_command_publish(v_cmd_filt, yaw_rate_cmd_filt,
                                1u, CHASSIS_CMD_RC);
      }
    }

    osDelay(10);
  }
  /* USER CODE END StartDefaultTask */
}

/* USER CODE BEGIN Header_INS_Task */
/**
* @brief 说明
* @param argument说明
* @retval ?
*/
/* USER CODE END Header_INS_Task */
void INS_Task(void const * argument)
{
  /* USER CODE BEGIN INS_Task */

  /* 说明 */
  for(;;)
  {
    INS_task();
  }
  /* USER CODE END INS_Task */
}

/* USER CODE BEGIN Header_ChassisR_Task */
/**
* @brief Function implementing the CHASSISR_TASK thread.
* @param argument说明
* @retval ?
*/
/* USER CODE END Header_ChassisR_Task */
void ChassisR_Task(void const * argument)
{
  /* USER CODE BEGIN ChassisR_Task */
  /* 说明 */
  for(;;)
  {
    Chassis_task();
  }
  /* USER CODE END ChassisR_Task */
}

/* 私有应用代码 --------------------------------------------------------------*/
